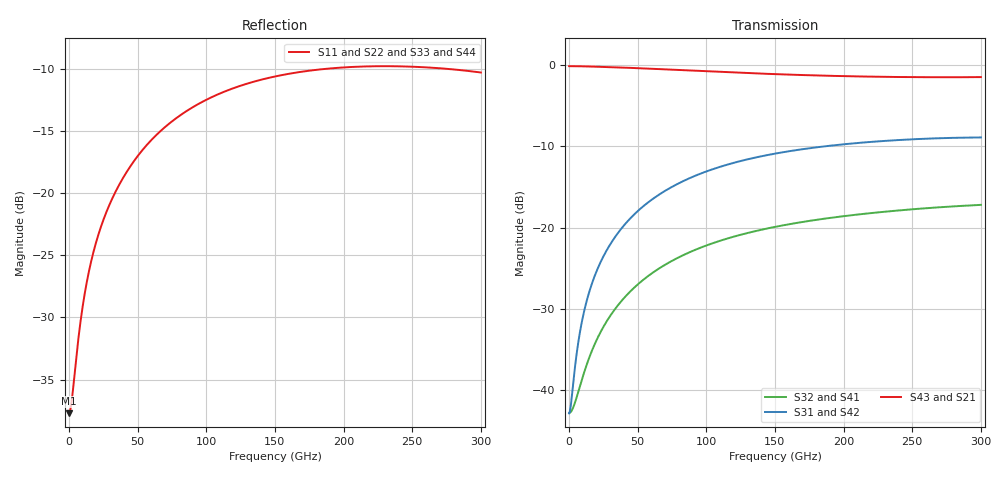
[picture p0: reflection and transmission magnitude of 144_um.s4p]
! Created with skrf (http://scikit-rf.org).
# Hz S RI R 50.0
!freq ReS11 ImS11 ReS12 ImS12 ReS13 ImS13
! ReS14 ImS14
! ReS21 ImS21 ReS22 ImS22 ReS23 ImS23
! ReS24 ImS24
! ReS31 ImS31 ReS32 ImS32 ReS33 ImS33
! ReS34 ImS34
! ReS41 ImS41 ReS42 ImS42 ReS43 ImS43
! ReS44 ImS44
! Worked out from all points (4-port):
!   3000 points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, 100 MHz to 300 GHz, reference 50 ohm
!   strongest paths, dB at 100 MHz, 75.1 GHz, 150.1 GHz, 225.1 GHz, 300 GHz:
!     S43: -0.1, -0.5, -1.1, -1.4, -1.5
!     S21: -0.1, -0.5, -1.1, -1.4, -1.5
!     S31: -42.9, -15.0, -10.9, -9.4, -8.9
!     S42: -42.9, -15.0, -10.9, -9.4, -8.9
!     S32: -42.8, -24.1, -19.9, -18.1, -17.2
!     S41: -42.8, -24.1, -19.9, -18.1, -17.2
!   lowest |S11| = -37.7 dB at 100 MHz (marker M1), VSWR 1.03, Z = 51.3 + j0.0323 ohm
!   |S11| at or under -10 dB: start of sweep to 188.4 GHz; 273.8 GHz to end of sweep
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1e8  0.013 0.000315  0.9871 -0.000763  0.0072 0.000265  -0.00723 -8.47e-05
     0.9871 -0.000763  0.013 0.000314  -0.00723 -8.45e-05  0.0072 0.000265
     0.0072 0.000265  -0.00723 -8.47e-05  0.013 0.000315  0.987 -0.000763
     -0.00723 -8.45e-05  0.00719 0.000265  0.9871 -0.000763  0.0131 0.000313
9.3e9  0.0164 0.0287  0.9826 -0.0703  0.00928 0.0244  -0.00857 -0.00771
       0.9826 -0.0703  0.0164 0.0286  -0.00857 -0.00769  0.00927 0.0244
       0.00928 0.0244  -0.00857 -0.00771  0.0164 0.0287  0.9826 -0.0703
       -0.00857 -0.00769  0.00927 0.0244  0.9826 -0.0703  0.0164 0.0286
2.02e10  0.0271 0.0587  0.968 -0.1488  0.0165 0.0517  -0.0132 -0.0156
         0.968 -0.1488  0.027 0.0585  -0.0132 -0.0155  0.0165 0.0516
         0.0165 0.0517  -0.0132 -0.0156  0.0271 0.0587  0.9681 -0.1488
         -0.0132 -0.0155  0.0165 0.0516  0.968 -0.1488  0.027 0.0585
3.86e10  0.0535 0.0996  0.9292 -0.2709  0.0382 0.0923  -0.0262 -0.0242
         0.9291 -0.2709  0.0534 0.0993  -0.0262 -0.0241  0.0381 0.0922
         0.0382 0.0923  -0.0262 -0.0242  0.0535 0.0996  0.9291 -0.2709
         -0.0262 -0.0241  0.0381 0.0922  0.9291 -0.2709  0.0534 0.0993
6.49e10  0.1035 0.1397  0.8472 -0.4246  0.084 0.1342  -0.0504 -0.0235
         0.8471 -0.4245  0.1033 0.1392  -0.0503 -0.0233  0.0838 0.1342
         0.084 0.1342  -0.0504 -0.0235  0.1035 0.1397  0.8472 -0.4247
         -0.0503 -0.0233  0.0838 0.1342  0.8471 -0.4245  0.1033 0.1393
1.74e11  0.2917 0.1045  0.3656 -0.7881  0.2838 0.1183  -0.067 0.087
         0.3659 -0.7876  0.2913 0.1039  -0.0666 0.0871  0.2836 0.1187
         0.2838 0.1183  -0.067 0.087  0.2917 0.1045  0.3656 -0.788
         -0.0666 0.0871  0.2836 0.1187  0.3659 -0.7876  0.2913 0.1039
3e11  0.2997 -0.0577  -0.2295 -0.8141  0.3528 -0.0681  0.0949 0.1004
      -0.2286 -0.8141  0.2997 -0.0587  0.0955 0.1003  0.353 -0.0672
      0.3528 -0.0681  0.095 0.1004  0.2997 -0.0577  -0.2291 -0.8139
      0.0955 0.1003  0.3531 -0.0672  -0.2286 -0.8141  0.2997 -0.0587
